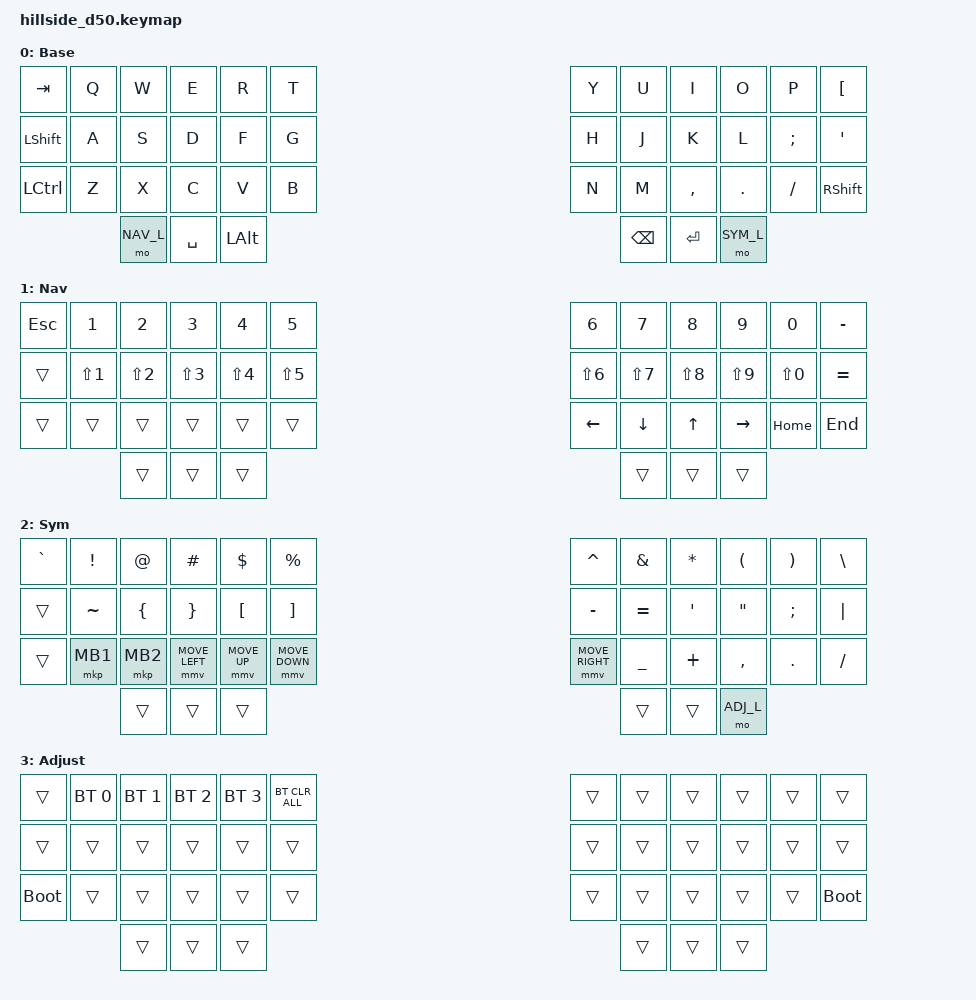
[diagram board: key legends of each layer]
// User default keymap.

// It is recommended to not edit this in boards/shields/hillside_d50/,
// but rather to copy into config/ and edit there.
#include <dt-bindings/zmk/pointing.h>
#include <behaviors.dtsi>
#include <behaviors/mouse_keys.dtsi>
#include <dt-bindings/zmk/bt.h>
#include <dt-bindings/zmk/ext_power.h>
#include <dt-bindings/zmk/keys.h>
#include <dt-bindings/zmk/outputs.h>
#include <dt-bindings/zmk/mouse.h>

#define BASE_L   0
#define NAV_L    1
#define SYM_L    2
#define ADJ_L    3

/ {
    behaviors {
        tab_esc: tab_esc {
            compatible = "zmk,behavior-tap-dance";
            label = "TAB_ESC";
            #binding-cells = <0>;
            tapping-term-ms = <200>;
            bindings = <&kp TAB>, <&kp ESC>;
        };

        hm: homerow_mods {
            compatible = "zmk,behavior-hold-tap";
            label = "HOMEROW_MODS";
            #binding-cells = <2>;
            tapping-term-ms = <225>;
            quick_tap_ms = <180>;
            flavor = "tap-preferred";
            bindings = <&kp>, <&kp>;

            global-quick-tap;
        };

        hm_rick: hmrick {
            compatible = "zmk,behavior-hold-tap";
            label = "HMRICK";
            bindings = <&kp>, <&kp>;

            #binding-cells = <2>;
            flavor = "tap-preferred";
            tapping-term-ms = <175>; // triggers the hold behavior when the tapping-term-ms has expired
            quick-tap-ms = <150>; // If you press a tapped hold-tap again within quick-tap-ms milliseconds of the first press, it will always trigger the tap behavior.
            require-prior-idle-ms = <185>; // like quick-tap-ms however it will apply for any non-modifier key pressed before it
        };

        as_ht: autoshift_hold_tap {
            compatible = "zmk,behavior-hold-tap";
            label = "AUTOSHIFT_HOLD_TAP";
            #binding-cells = <2>;
            tapping-term-ms = <200>;
            bindings = <&shifted>, <&kp>;
        };

        sticky: sticky {
            compatible = "zmk,behavior-sticky-key";
            label = "STICKY";
            bindings = <&kp>;
            #binding-cells = <1>;
            release-after-ms = <10000>;
        };
    };
macros {
    shifted: macro_shifted_kp {
      #binding-cells = <1>;
      label = "MACRO_SHIFTED_KP";
      compatible = "zmk,behavior-macro-one-param";
      bindings =
        <&macro_press &kp LSHFT>,
        <&macro_param_1to1 &macro_tap &kp MACRO_PLACEHOLDER>,
        <&macro_release &kp LSHFT>;
    };

    as: autoshift {
      compatible = "zmk,behavior-macro-one-param";
      #binding-cells = <1>;
      label = "AUTOSHIFT_KP";
      bindings =
        <&macro_press>,
        <&macro_param_1to1>,
        <&macro_param_1to2>,
        <&as_ht MACRO_PLACEHOLDER MACRO_PLACEHOLDER>,
        <&macro_pause_for_release>,
        <&macro_release>,
        <&macro_param_1to1>,
        <&macro_param_1to2>,
        <&as_ht MACRO_PLACEHOLDER MACRO_PLACEHOLDER>;
    };
  };
	keymap {
		compatible = "zmk,keymap";
		
		
		// // Build test layer, if using the bare LED.
		// // Need to also ensure normal layers don't use smart LED key codes, such as by commenting them all out.
		// // col 0         1               2                3                4              5
		//         test_layer { bindings = <
		// &kp  TAB        &kp  Q          &kp  W           &kp  E           &kp  R         &kp  T                   &kp  Y        &kp  U         &kp  I            &kp  O           &kp  P           &kp  LBKT
		// &bl  BL_TOG     &bl  BL_CYCLE   &kp  S           &ext_power EP_ON &out OUT_USB   &out OUT                 &out OUT_BLE  &out OUT_USB   &ext_power EP_ON  &kp  L           &bl  BL_CYCLE    &bl  BL_TOG
		// &kp  N0         &kp  N1         &kp  N2          &kp  N3          &kp  N4        &kp  N5                  &kp  N5       &kp  N4        &kp  N3           &kp  N2          &kp  N1          &kp  N0
		//                                 &kp  X           &kp  C             &kp  N1        &kp  N2              &kp  N2       &kp  N1          &kp  COMMA        &kp  DOT
		//                                                    &kp  N5          &kp  N4        &kp  N3              &kp  N3       &kp  N4        &kp  N5
		//                          >; };
		
		// // Build test layer, if using the smart RGB LEDs.
		// // Need to also ensure normal layers don't use bare LED key codes, such as by commenting them all out.
		// // col 0         1               2               3                4              5
		//         test_layer { bindings = <
		// &kp  TAB        &kp  Q          &kp  W          &kp  E           &kp  R         &kp  T                   &kp  Y        &kp  U         &kp  I            &kp  O           &kp  P           &kp  LBKT
		// &rgb_ug RGB_ON  &rgb_ug RGB_BRI &rgb_ug RGB_OFF &ext_power EP_ON &out OUT_USB   &out OUT                 &out OUT_BLE  &out OUT_USB   &ext_power EP_ON  &rgb_ug RGB_OFF  &rgb_ug RGB_BRI  &rgb_ug RGB_ON
		// &kp  N0         &kp  N1         &kp  N2         &kp  N3          &kp  N4        &kp  N5                  &kp  N5       &kp  N4        &kp  N3           &kp  N2          &kp  N1          &kp  N0
		//                                 &kp  X          &kp  C              &kp  N1       &kp  N2              &kp  N2       &kp  N1          &kp  COMMA        &kp  DOT
		//                                                   &kp  N5           &kp  N4       &kp  N3              &kp  N3       &kp  N4        &kp  N5
		//                          >; };
		
		default_layer {
			display-name = "Base";
			bindings = <
// ╭─────────────┬─────────────┬─────────────┬─────────────┬─────────────┬─────────────╮   ╭─────────────┬─────────────┬─────────────┬─────────────┬─────────────┬─────────────╮
    &kp TAB       &kp Q         &kp W         &kp E         &kp R         &kp T                 &kp Y         &kp U         &kp I         &kp O         &kp P         &kp LBKT
// ├─────────────┼─────────────┼─────────────┼─────────────┼─────────────┼─────────────┤   ├─────────────┼─────────────┼─────────────┼─────────────┼─────────────┼─────────────┤
    &kp LSHFT     &kp A         &kp S         &kp D         &kp F         &kp G                 &kp H         &kp J         &kp K         &kp L         &kp SEMI      &kp SQT
// ├─────────────┼─────────────┼─────────────┼─────────────┼─────────────┼─────────────┤   ├─────────────┼─────────────┼─────────────┼─────────────┼─────────────┼─────────────┤
    &kp LCTRL     &kp Z         &kp X         &kp C         &kp V         &kp B                 &kp N         &kp M         &kp COMMA     &kp DOT       &kp SLASH     &kp RSHFT
// ╰─────────────┴─────────────┴─────────────┼─────────────┼─────────────┼─────────────╮   ╭─────────────┼─────────────┼─────────────┼─────────────┴─────────────┴─────────────╯
                                &mo NAV_L     &kp SPACE     &kp LALT                           &kp BSPC      &kp ENTER     &mo SYM_L
//                             ╰─────────────┴─────────────┴─────────────╯   ╰─────────────┴─────────────┴─────────────╯
			>;
		};
		nav_layer {
			display-name = "Nav";
			bindings = <
// ╭─────────────┬─────────────┬─────────────┬─────────────┬─────────────┬─────────────╮   ╭─────────────┬─────────────┬─────────────┬─────────────┬─────────────┬─────────────╮
    &kp ESC       &kp N1        &kp N2        &kp N3        &kp N4        &kp N5                &kp N6        &kp N7        &kp N8        &kp N9        &kp N0        &kp MINUS
// ├─────────────┼─────────────┼─────────────┼─────────────┼─────────────┼─────────────┤   ├─────────────┼─────────────┼─────────────┼─────────────┼─────────────┼─────────────┤
    &trans        &kp LS(N1)    &kp LS(N2)    &kp LS(N3)    &kp LS(N4)    &kp LS(N5)            &kp LS(N6)    &kp LS(N7)    &kp LS(N8)    &kp LS(N9)    &kp LS(N0)    &kp EQUAL
// ├─────────────┼─────────────┼─────────────┼─────────────┼─────────────┼─────────────┤   ├─────────────┼─────────────┼─────────────┼─────────────┼─────────────┼─────────────┤
    &trans        &trans        &trans        &trans        &trans        &trans                &kp LEFT      &kp DOWN      &kp UP        &kp RIGHT     &kp HOME      &kp END
// ╰─────────────┴─────────────┴─────────────┼─────────────┼─────────────┼─────────────╮   ╭─────────────┼─────────────┼─────────────┼─────────────┴─────────────┴─────────────╯
                                &trans        &trans        &trans                           &trans        &trans        &trans
//                             ╰─────────────┴─────────────┴─────────────╯   ╰─────────────┴─────────────┴─────────────╯
			>;
		};
		
		sym_layer {
			display-name = "Sym";
			bindings = <
// ╭─────────────┬─────────────┬─────────────┬─────────────┬─────────────┬─────────────╮   ╭─────────────┬─────────────┬─────────────┬─────────────┬─────────────┬─────────────╮
    &kp GRAVE     &kp EXCL      &kp AT        &kp HASH      &kp DLLR      &kp PRCNT             &kp CARET     &kp AMPS      &kp STAR      &kp LPAR      &kp RPAR      &kp BSLH
// ├─────────────┼─────────────┼─────────────┼─────────────┼─────────────┼─────────────┤   ├─────────────┼─────────────┼─────────────┼─────────────┼─────────────┼─────────────┤
    &trans        &kp TILDE     &kp LBRC      &kp RBRC      &kp LBKT      &kp RBKT              &kp MINUS     &kp EQUAL     &kp APOS      &kp DQT       &kp SEMI      &kp PIPE
// ├─────────────┼─────────────┼─────────────┼─────────────┼─────────────┼─────────────┤   ├─────────────┼─────────────┼─────────────┼─────────────┼─────────────┼─────────────┤
    &trans        &mkp MB1      &mkp MB2      &mmv MOVE_LEFT &mmv MOVE_UP &mmv MOVE_DOWN        &mmv MOVE_RIGHT &kp UNDER    &kp PLUS      &kp COMMA     &kp DOT       &kp SLASH
// ╰─────────────┴─────────────┴─────────────┼─────────────┼─────────────┼─────────────╮   ╭─────────────┼─────────────┼─────────────┼─────────────┴─────────────┴─────────────╯
                                &trans        &trans        &trans                           &trans        &trans        &mo ADJ_L
//                             ╰─────────────┴─────────────┴─────────────╯   ╰─────────────┴─────────────┴─────────────╯
			>;
		};
		
		adj_layer {
			display-name = "Adjust";
			bindings = <
// ╭─────────────┬─────────────┬─────────────┬─────────────┬─────────────┬─────────────╮   ╭─────────────┬─────────────┬─────────────┬─────────────┬─────────────┬─────────────╮
    &trans        &bt BT_SEL 0  &bt BT_SEL 1  &bt BT_SEL 2  &bt BT_SEL 3  &bt BT_CLR_ALL        &trans        &trans        &trans        &trans        &trans        &trans
// ├─────────────┼─────────────┼─────────────┼─────────────┼─────────────┼─────────────┤   ├─────────────┼─────────────┼─────────────┼─────────────┼─────────────┼─────────────┤
    &trans        &trans        &trans        &trans        &trans        &trans                &trans        &trans        &trans        &trans        &trans        &trans
// ├─────────────┼─────────────┼─────────────┼─────────────┼─────────────┼─────────────┤   ├─────────────┼─────────────┼─────────────┼─────────────┼─────────────┼─────────────┤
    &bootloader   &trans        &trans        &trans        &trans        &trans                &trans        &trans        &trans        &trans        &trans        &bootloader
// ╰─────────────┴─────────────┴─────────────┼─────────────┼─────────────┼─────────────╮   ╭─────────────┼─────────────┼─────────────┼─────────────┴─────────────┴─────────────╯
                                &trans        &trans        &trans                           &trans        &trans        &trans
//                             ╰─────────────┴─────────────┴─────────────╯   ╰─────────────┴─────────────┴─────────────╯
			>;
		};
		
		extra1_layer {
			status = "reserved";
		};
		
		extra2_layer {
			status = "reserved";
		};
		
		
		
	};
};

